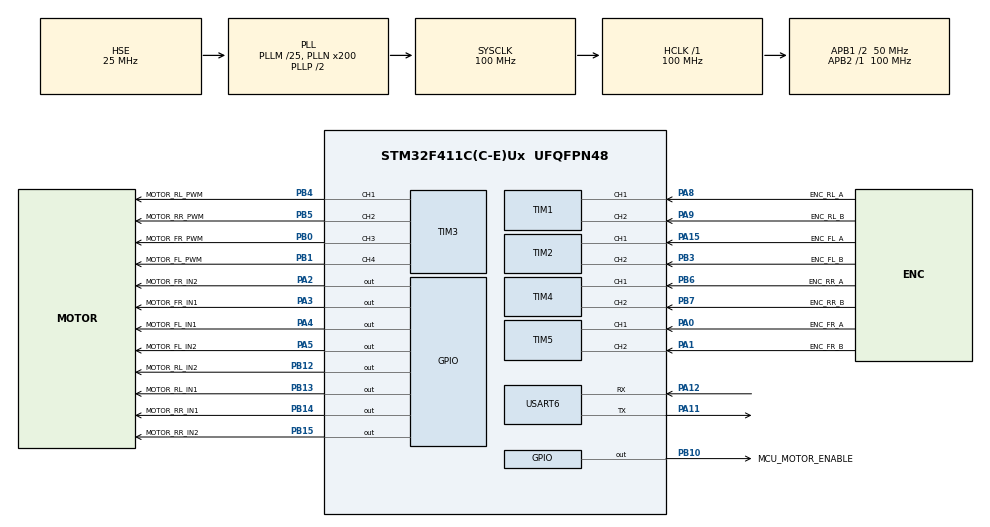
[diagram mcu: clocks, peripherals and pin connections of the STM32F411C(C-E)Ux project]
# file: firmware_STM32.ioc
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FREERTOS.Tasks01=defaultTask,24,128,StartDefaultTask,Default,NULL,Dynamic,NULL,NULL
FREERTOS.configCHECK_FOR_STACK_OVERFLOW=2
FREERTOS.configUSE_MALLOC_FAILED_HOOK=1
FREERTOS.configUSE_TRACE_FACILITY=1
Mcu.Family=STM32F4
Mcu.Name=STM32F411C(C-E)Ux
Mcu.Package=UFQFPN48
NVIC.PriorityGroup=NVIC_PRIORITYGROUP_4
NVIC.TIM1_UP_TIM10_IRQn=true\:15\:0\:false\:false\:true\:false\:false\:true\:true
NVIC.USART6_IRQn=true\:6\:0\:false\:false\:true\:false\:false\:true\:true
NVIC.TimeBase=TIM1_UP_TIM10_IRQn
NVIC.TimeBaseIP=TIM10
PA0-WKUP.GPIO_Label=ENC_FR_A
PA0-WKUP.Signal=S_TIM5_CH1
PA1.GPIO_Label=ENC_FR_B
PA1.Signal=S_TIM5_CH2
PA11.Mode=Asynchronous
PA11.Signal=USART6_TX
PA12.Mode=Asynchronous
PA12.Signal=USART6_RX
PA13.Mode=Serial_Wire
PA13.Signal=SYS_JTMS-SWDIO
PA14.Mode=Serial_Wire
PA14.Signal=SYS_JTCK-SWCLK
PA15.GPIO_Label=ENC_FL_A
PA15.Signal=S_TIM2_CH1_ETR
PA2.GPIO_Label=MOTOR_FR_IN2
PA2.Signal=GPIO_Output
PA3.GPIO_Label=MOTOR_FR_IN1
PA3.Signal=GPIO_Output
PA4.GPIO_Label=MOTOR_FL_IN1
PA4.Signal=GPIO_Output
PA5.GPIO_Label=MOTOR_FL_IN2
PA5.Signal=GPIO_Output
PA8.GPIO_Label=ENC_RL_A
PA8.Signal=S_TIM1_CH1
PA9.GPIO_Label=ENC_RL_B
PA9.Signal=S_TIM1_CH2
PB0.GPIO_Label=MOTOR_FR_PWM
PB0.Signal=S_TIM3_CH3
PB1.GPIO_Label=MOTOR_FL_PWM
PB1.Signal=S_TIM3_CH4
PB10.GPIO_Label=MCU_MOTOR_ENABLE
PB10.Signal=GPIO_Output
PB12.GPIO_Label=MOTOR_RL_IN2
PB12.Signal=GPIO_Output
PB13.GPIO_Label=MOTOR_RL_IN1
PB13.Signal=GPIO_Output
PB14.GPIO_Label=MOTOR_RR_IN1
PB14.Signal=GPIO_Output
PB15.GPIO_Label=MOTOR_RR_IN2
PB15.Signal=GPIO_Output
PB3.GPIO_Label=ENC_FL_B
PB3.Signal=S_TIM2_CH2
PB4.GPIO_Label=MOTOR_RL_PWM
PB4.Signal=S_TIM3_CH1
PB5.GPIO_Label=MOTOR_RR_PWM
PB5.Signal=S_TIM3_CH2
PB6.GPIO_Label=ENC_RR_A
PB6.Signal=S_TIM4_CH1
PB7.GPIO_Label=ENC_RR_B
PB7.Signal=S_TIM4_CH2
PH0\ -\ OSC_IN.Mode=HSE-External-Oscillator
PH0\ -\ OSC_IN.Signal=RCC_OSC_IN
PH1\ -\ OSC_OUT.Mode=HSE-External-Oscillator
PH1\ -\ OSC_OUT.Signal=RCC_OSC_OUT
ProjectManager.HeapSize=0x200
ProjectManager.StackSize=0x400
ProjectManager.TargetToolchain=STM32CubeIDE
RCC.48MHZClocksFreq_Value=50000000
RCC.AHBFreq_Value=100000000
RCC.APB1CLKDivider=RCC_HCLK_DIV2
RCC.APB1Freq_Value=50000000
RCC.APB1TimFreq_Value=100000000
RCC.APB2Freq_Value=100000000
RCC.APB2TimFreq_Value=100000000
RCC.CortexFreq_Value=100000000
RCC.HCLKFreq_Value=100000000
RCC.HSE_VALUE=25000000
RCC.HSI_VALUE=16000000
RCC.LSE_VALUE=32768
RCC.PLLM=25
RCC.PLLN=200
RCC.PLLSourceVirtual=RCC_PLLSOURCE_HSE
RCC.SYSCLKFreq_VALUE=100000000
RCC.SYSCLKSource=RCC_SYSCLKSOURCE_PLLCLK
RCC.VCOOutputFreq_Value=200000000
SH.S_TIM1_CH1.0=TIM1_CH1,Encoder_Interface
SH.S_TIM1_CH2.0=TIM1_CH2,Encoder_Interface
SH.S_TIM2_CH1_ETR.0=TIM2_CH1,Encoder_Interface
SH.S_TIM2_CH2.0=TIM2_CH2,Encoder_Interface
SH.S_TIM3_CH1.0=TIM3_CH1,PWM Generation1 CH1
SH.S_TIM3_CH2.0=TIM3_CH2,PWM Generation2 CH2
SH.S_TIM3_CH3.0=TIM3_CH3,PWM Generation3 CH3
SH.S_TIM3_CH4.0=TIM3_CH4,PWM Generation4 CH4
SH.S_TIM4_CH1.0=TIM4_CH1,Encoder_Interface
SH.S_TIM4_CH2.0=TIM4_CH2,Encoder_Interface
SH.S_TIM5_CH1.0=TIM5_CH1,Encoder_Interface
SH.S_TIM5_CH2.0=TIM5_CH2,Encoder_Interface
TIM1.EncoderMode=TIM_ENCODERMODE_TI12
TIM2.EncoderMode=TIM_ENCODERMODE_TI12
TIM3.Channel-PWM\ Generation1\ CH1=TIM_CHANNEL_1
TIM3.Channel-PWM\ Generation2\ CH2=TIM_CHANNEL_2
TIM3.Channel-PWM\ Generation3\ CH3=TIM_CHANNEL_3
TIM3.Channel-PWM\ Generation4\ CH4=TIM_CHANNEL_4
TIM4.EncoderMode=TIM_ENCODERMODE_TI12
TIM5.EncoderMode=TIM_ENCODERMODE_TI12
USART6.VirtualMode=VM_ASYNC
VP_FREERTOS_VS_CMSIS_V2.Mode=CMSIS_V2
VP_SYS_VS_tim10.Mode=TIM10
board=custom

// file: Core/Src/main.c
/* USER CODE BEGIN Header */
/* USER CODE END Header */
#include "main.h"
#include "cmsis_os.h"

/* USER CODE BEGIN Includes */
#include "communication_runtime.h"
#include "control_safety_runtime.h"
#include "slam_bench_motor_runtime.h"
#include "boot_id.h"
#include "generated_hardware_config.h"
#include "safety_io.h"
#include "encoder.h"
#include "telemetry.h"
/* USER CODE END Includes */

TIM_HandleTypeDef htim1;
TIM_HandleTypeDef htim2;
TIM_HandleTypeDef htim3;
TIM_HandleTypeDef htim4;
TIM_HandleTypeDef htim5;

UART_HandleTypeDef huart6;

/* Definitions for defaultTask */
osThreadId_t defaultTaskHandle;
const osThreadAttr_t defaultTask_attributes = {
  .name = "defaultTask",
  .stack_size = 128 * 4,
  .priority = (osPriority_t) osPriorityNormal,
};

void SystemClock_Config(void);
static void MX_GPIO_Init(void);
static void MX_TIM1_Init(void);
static void MX_TIM2_Init(void);
static void MX_TIM3_Init(void);
static void MX_TIM4_Init(void);
static void MX_TIM5_Init(void);
static void MX_USART6_UART_Init(void);
void StartDefaultTask(void *argument);

int main(void)
{

  /* MCU Configuration--------------------------------------------------------*/

  /* Reset of all peripherals, Initializes the Flash interface and the Systick. */
  HAL_Init();

  /* Configure the system clock */
  SystemClock_Config();

  /* Initialize all configured peripherals */
  MX_GPIO_Init();
  MX_TIM1_Init();
  MX_TIM2_Init();
  MX_TIM3_Init();
  MX_TIM4_Init();
  MX_TIM5_Init();
  MX_USART6_UART_Init();
  /* USER CODE BEGIN 2 */
  safety_io_init_safe();
  if (!encoder_start(&htim2, &htim5, &htim1, &htim4)) Error_Handler();
  if (!slam_bench_motor_runtime_init()) Error_Handler();
  /* USER CODE END 2 */

  /* Init scheduler */
  if (osKernelInitialize() != osOK) Error_Handler();

  /* Create the thread(s) */
  /* creation of defaultTask */
  defaultTaskHandle = osThreadNew(StartDefaultTask, NULL, &defaultTask_attributes);
  if (defaultTaskHandle == NULL) Error_Handler();

  /* Start scheduler */
  if (osKernelStart() != osOK) Error_Handler();

  /* We should never get here as control is now taken by the scheduler */

  /* Infinite loop */

}

void SystemClock_Config(void)
{
  RCC_OscInitTypeDef RCC_OscInitStruct = {0};
  RCC_ClkInitTypeDef RCC_ClkInitStruct = {0};

  /** Configure the main internal regulator output voltage
  */
  __HAL_RCC_PWR_CLK_ENABLE();
  __HAL_PWR_VOLTAGESCALING_CONFIG(PWR_REGULATOR_VOLTAGE_SCALE1);

  /** Initializes the RCC Oscillators according to the specified parameters
  * in the RCC_OscInitTypeDef structure.
  */
  RCC_OscInitStruct.OscillatorType = RCC_OSCILLATORTYPE_HSE;
  RCC_OscInitStruct.HSEState = RCC_HSE_ON;
  RCC_OscInitStruct.PLL.PLLState = RCC_PLL_ON;
  RCC_OscInitStruct.PLL.PLLSource = RCC_PLLSOURCE_HSE;
  RCC_OscInitStruct.PLL.PLLM = 25;
  RCC_OscInitStruct.PLL.PLLN = 200;
  RCC_OscInitStruct.PLL.PLLP = RCC_PLLP_DIV2;
  RCC_OscInitStruct.PLL.PLLQ = 4;
  if (HAL_RCC_OscConfig(&RCC_OscInitStruct) != HAL_OK)
  {
    Error_Handler();
  }

  /** Initializes the CPU, AHB and APB buses clocks
  */
  RCC_ClkInitStruct.ClockType = RCC_CLOCKTYPE_HCLK|RCC_CLOCKTYPE_SYSCLK
                              |RCC_CLOCKTYPE_PCLK1|RCC_CLOCKTYPE_PCLK2;
  RCC_ClkInitStruct.SYSCLKSource = RCC_SYSCLKSOURCE_PLLCLK;
  RCC_ClkInitStruct.AHBCLKDivider = RCC_SYSCLK_DIV1;
  RCC_ClkInitStruct.APB1CLKDivider = RCC_HCLK_DIV2;
  RCC_ClkInitStruct.APB2CLKDivider = RCC_HCLK_DIV1;

  if (HAL_RCC_ClockConfig(&RCC_ClkInitStruct, FLASH_LATENCY_3) != HAL_OK)
  {
    Error_Handler();
  }
}

static void MX_TIM1_Init(void)
{

  TIM_Encoder_InitTypeDef sConfig = {0};
  TIM_MasterConfigTypeDef sMasterConfig = {0};

  htim1.Instance = TIM1;
  htim1.Init.Prescaler = 0;
  htim1.Init.CounterMode = TIM_COUNTERMODE_UP;
  htim1.Init.Period = 65535;
  htim1.Init.ClockDivision = TIM_CLOCKDIVISION_DIV1;
  htim1.Init.RepetitionCounter = 0;
  htim1.Init.AutoReloadPreload = TIM_AUTORELOAD_PRELOAD_DISABLE;
  sConfig.EncoderMode = TIM_ENCODERMODE_TI12;
  sConfig.IC1Polarity = TIM_ICPOLARITY_RISING;
  sConfig.IC1Selection = TIM_ICSELECTION_DIRECTTI;
  sConfig.IC1Prescaler = TIM_ICPSC_DIV1;
  sConfig.IC1Filter = 0;
  sConfig.IC2Polarity = TIM_ICPOLARITY_RISING;
  sConfig.IC2Selection = TIM_ICSELECTION_DIRECTTI;
  sConfig.IC2Prescaler = TIM_ICPSC_DIV1;
  sConfig.IC2Filter = 0;
  if (HAL_TIM_Encoder_Init(&htim1, &sConfig) != HAL_OK)
  {
    Error_Handler();
  }
  sMasterConfig.MasterOutputTrigger = TIM_TRGO_RESET;
  sMasterConfig.MasterSlaveMode = TIM_MASTERSLAVEMODE_DISABLE;
  if (HAL_TIMEx_MasterConfigSynchronization(&htim1, &sMasterConfig) != HAL_OK)
  {
    Error_Handler();
  }

}

static void MX_TIM2_Init(void)
{

  TIM_Encoder_InitTypeDef sConfig = {0};
  TIM_MasterConfigTypeDef sMasterConfig = {0};

  htim2.Instance = TIM2;
  htim2.Init.Prescaler = 0;
  htim2.Init.CounterMode = TIM_COUNTERMODE_UP;
  htim2.Init.Period = 4294967295;
  htim2.Init.ClockDivision = TIM_CLOCKDIVISION_DIV1;
  htim2.Init.AutoReloadPreload = TIM_AUTORELOAD_PRELOAD_DISABLE;
  sConfig.EncoderMode = TIM_ENCODERMODE_TI12;
  sConfig.IC1Polarity = TIM_ICPOLARITY_RISING;
  sConfig.IC1Selection = TIM_ICSELECTION_DIRECTTI;
  sConfig.IC1Prescaler = TIM_ICPSC_DIV1;
  sConfig.IC1Filter = 0;
  sConfig.IC2Polarity = TIM_ICPOLARITY_RISING;
  sConfig.IC2Selection = TIM_ICSELECTION_DIRECTTI;
  sConfig.IC2Prescaler = TIM_ICPSC_DIV1;
  sConfig.IC2Filter = 0;
  if (HAL_TIM_Encoder_Init(&htim2, &sConfig) != HAL_OK)
  {
    Error_Handler();
  }
  sMasterConfig.MasterOutputTrigger = TIM_TRGO_RESET;
  sMasterConfig.MasterSlaveMode = TIM_MASTERSLAVEMODE_DISABLE;
  if (HAL_TIMEx_MasterConfigSynchronization(&htim2, &sMasterConfig) != HAL_OK)
  {
    Error_Handler();
  }

}

static void MX_TIM3_Init(void)
{

  TIM_MasterConfigTypeDef sMasterConfig = {0};
  TIM_OC_InitTypeDef sConfigOC = {0};

  htim3.Instance = TIM3;
  htim3.Init.Prescaler = 0;
  htim3.Init.CounterMode = TIM_COUNTERMODE_UP;
  htim3.Init.Period = 65535;
  htim3.Init.ClockDivision = TIM_CLOCKDIVISION_DIV1;
  htim3.Init.AutoReloadPreload = TIM_AUTORELOAD_PRELOAD_DISABLE;
  if (HAL_TIM_PWM_Init(&htim3) != HAL_OK)
  {
    Error_Handler();
  }
  sMasterConfig.MasterOutputTrigger = TIM_TRGO_RESET;
  sMasterConfig.MasterSlaveMode = TIM_MASTERSLAVEMODE_DISABLE;
  if (HAL_TIMEx_MasterConfigSynchronization(&htim3, &sMasterConfig) != HAL_OK)
  {
    Error_Handler();
  }
  sConfigOC.OCMode = TIM_OCMODE_PWM1;
  sConfigOC.Pulse = 0;
  sConfigOC.OCPolarity = TIM_OCPOLARITY_HIGH;
  sConfigOC.OCFastMode = TIM_OCFAST_DISABLE;
  if (HAL_TIM_PWM_ConfigChannel(&htim3, &sConfigOC, TIM_CHANNEL_1) != HAL_OK)
  {
    Error_Handler();
  }
  if (HAL_TIM_PWM_ConfigChannel(&htim3, &sConfigOC, TIM_CHANNEL_2) != HAL_OK)
  {
    Error_Handler();
  }
  if (HAL_TIM_PWM_ConfigChannel(&htim3, &sConfigOC, TIM_CHANNEL_3) != HAL_OK)
  {
    Error_Handler();
  }
  if (HAL_TIM_PWM_ConfigChannel(&htim3, &sConfigOC, TIM_CHANNEL_4) != HAL_OK)
  {
    Error_Handler();
  }
  HAL_TIM_MspPostInit(&htim3);

}

static void MX_TIM4_Init(void)
{

  TIM_Encoder_InitTypeDef sConfig = {0};
  TIM_MasterConfigTypeDef sMasterConfig = {0};

  htim4.Instance = TIM4;
  htim4.Init.Prescaler = 0;
  htim4.Init.CounterMode = TIM_COUNTERMODE_UP;
  htim4.Init.Period = 65535;
  htim4.Init.ClockDivision = TIM_CLOCKDIVISION_DIV1;
  htim4.Init.AutoReloadPreload = TIM_AUTORELOAD_PRELOAD_DISABLE;
  sConfig.EncoderMode = TIM_ENCODERMODE_TI12;
  sConfig.IC1Polarity = TIM_ICPOLARITY_RISING;
  sConfig.IC1Selection = TIM_ICSELECTION_DIRECTTI;
  sConfig.IC1Prescaler = TIM_ICPSC_DIV1;
  sConfig.IC1Filter = 0;
  sConfig.IC2Polarity = TIM_ICPOLARITY_RISING;
  sConfig.IC2Selection = TIM_ICSELECTION_DIRECTTI;
  sConfig.IC2Prescaler = TIM_ICPSC_DIV1;
  sConfig.IC2Filter = 0;
  if (HAL_TIM_Encoder_Init(&htim4, &sConfig) != HAL_OK)
  {
    Error_Handler();
  }
  sMasterConfig.MasterOutputTrigger = TIM_TRGO_RESET;
  sMasterConfig.MasterSlaveMode = TIM_MASTERSLAVEMODE_DISABLE;
  if (HAL_TIMEx_MasterConfigSynchronization(&htim4, &sMasterConfig) != HAL_OK)
  {
    Error_Handler();
  }

}

static void MX_TIM5_Init(void)
{

  TIM_Encoder_InitTypeDef sConfig = {0};
  TIM_MasterConfigTypeDef sMasterConfig = {0};

  htim5.Instance = TIM5;
  htim5.Init.Prescaler = 0;
  htim5.Init.CounterMode = TIM_COUNTERMODE_UP;
  htim5.Init.Period = 4294967295;
  htim5.Init.ClockDivision = TIM_CLOCKDIVISION_DIV1;
  htim5.Init.AutoReloadPreload = TIM_AUTORELOAD_PRELOAD_DISABLE;
  sConfig.EncoderMode = TIM_ENCODERMODE_TI12;
  sConfig.IC1Polarity = TIM_ICPOLARITY_RISING;
  sConfig.IC1Selection = TIM_ICSELECTION_DIRECTTI;
  sConfig.IC1Prescaler = TIM_ICPSC_DIV1;
  sConfig.IC1Filter = 0;
  sConfig.IC2Polarity = TIM_ICPOLARITY_RISING;
  sConfig.IC2Selection = TIM_ICSELECTION_DIRECTTI;
  sConfig.IC2Prescaler = TIM_ICPSC_DIV1;
  sConfig.IC2Filter = 0;
  if (HAL_TIM_Encoder_Init(&htim5, &sConfig) != HAL_OK)
  {
    Error_Handler();
  }
  sMasterConfig.MasterOutputTrigger = TIM_TRGO_RESET;
  sMasterConfig.MasterSlaveMode = TIM_MASTERSLAVEMODE_DISABLE;
  if (HAL_TIMEx_MasterConfigSynchronization(&htim5, &sMasterConfig) != HAL_OK)
  {
    Error_Handler();
  }

}

static void MX_USART6_UART_Init(void)
{

  huart6.Instance = USART6;
  huart6.Init.BaudRate = 115200;
  huart6.Init.WordLength = UART_WORDLENGTH_8B;
  huart6.Init.StopBits = UART_STOPBITS_1;
  huart6.Init.Parity = UART_PARITY_NONE;
  huart6.Init.Mode = UART_MODE_TX_RX;
  huart6.Init.HwFlowCtl = UART_HWCONTROL_NONE;
  huart6.Init.OverSampling = UART_OVERSAMPLING_16;
  if (HAL_UART_Init(&huart6) != HAL_OK)
  {
    Error_Handler();
  }

}

static void MX_GPIO_Init(void)
{
  GPIO_InitTypeDef GPIO_InitStruct = {0};

  /* GPIO Ports Clock Enable */
  __HAL_RCC_GPIOH_CLK_ENABLE();
  __HAL_RCC_GPIOA_CLK_ENABLE();
  __HAL_RCC_GPIOB_CLK_ENABLE();

  /*Configure GPIO pin Output Level */
  HAL_GPIO_WritePin(GPIOA, MOTOR_FR_IN2_Pin|MOTOR_FR_IN1_Pin|MOTOR_FL_IN1_Pin|MOTOR_FL_IN2_Pin, GPIO_PIN_RESET);

  /*Configure GPIO pin Output Level */
  HAL_GPIO_WritePin(GPIOB, MCU_MOTOR_ENABLE_Pin|MOTOR_RL_IN2_Pin|MOTOR_RL_IN1_Pin|MOTOR_RR_IN1_Pin
                          |MOTOR_RR_IN2_Pin, GPIO_PIN_RESET);

  /*Configure GPIO pins : MOTOR_FR_IN2_Pin MOTOR_FR_IN1_Pin MOTOR_FL_IN1_Pin MOTOR_FL_IN2_Pin */
  GPIO_InitStruct.Pin = MOTOR_FR_IN2_Pin|MOTOR_FR_IN1_Pin|MOTOR_FL_IN1_Pin|MOTOR_FL_IN2_Pin;
  GPIO_InitStruct.Mode = GPIO_MODE_OUTPUT_PP;
  GPIO_InitStruct.Pull = GPIO_NOPULL;
  GPIO_InitStruct.Speed = GPIO_SPEED_FREQ_LOW;
  HAL_GPIO_Init(GPIOA, &GPIO_InitStruct);

  /*Configure GPIO pins : MCU_MOTOR_ENABLE_Pin MOTOR_RL_IN2_Pin MOTOR_RL_IN1_Pin MOTOR_RR_IN1_Pin
                           MOTOR_RR_IN2_Pin */
  GPIO_InitStruct.Pin = MCU_MOTOR_ENABLE_Pin|MOTOR_RL_IN2_Pin|MOTOR_RL_IN1_Pin|MOTOR_RR_IN1_Pin
                          |MOTOR_RR_IN2_Pin;
  GPIO_InitStruct.Mode = GPIO_MODE_OUTPUT_PP;
  GPIO_InitStruct.Pull = GPIO_NOPULL;
  GPIO_InitStruct.Speed = GPIO_SPEED_FREQ_LOW;
  HAL_GPIO_Init(GPIOB, &GPIO_InitStruct);

}

void StartDefaultTask(void *argument)
{
  /* USER CODE BEGIN 5 */
  uint64_t boot_id;
  (void)argument;
  /* Glue phát triển U4: tạo boot ID và cả hai owner trước khi arm UART RX. */
  if (!boot_id_allocate_hal(&boot_id)) Error_Handler();
  if (!communication_runtime_prepare(&huart6)) Error_Handler();
  if (!control_safety_runtime_start(mecanum_hardware_config_hash,
      MECANUM_COMMUNICATION_CONFIG_VALID != 0U, boot_id)) Error_Handler();
  if (!telemetry_runtime_start()) Error_Handler();
  if (!communication_runtime_arm_rx()) Error_Handler();
  osThreadExit();
  /* USER CODE END 5 */
}

void HAL_TIM_PeriodElapsedCallback(TIM_HandleTypeDef *htim)
{
  /* USER CODE BEGIN Callback 0 */
  if (htim->Instance == TIM10) encoder_sample_1ms();
  /* USER CODE END Callback 0 */
  if (htim->Instance == TIM10)
  {
    HAL_IncTick();
  }
}

void Error_Handler(void)
{
  for (;;) { }
}
